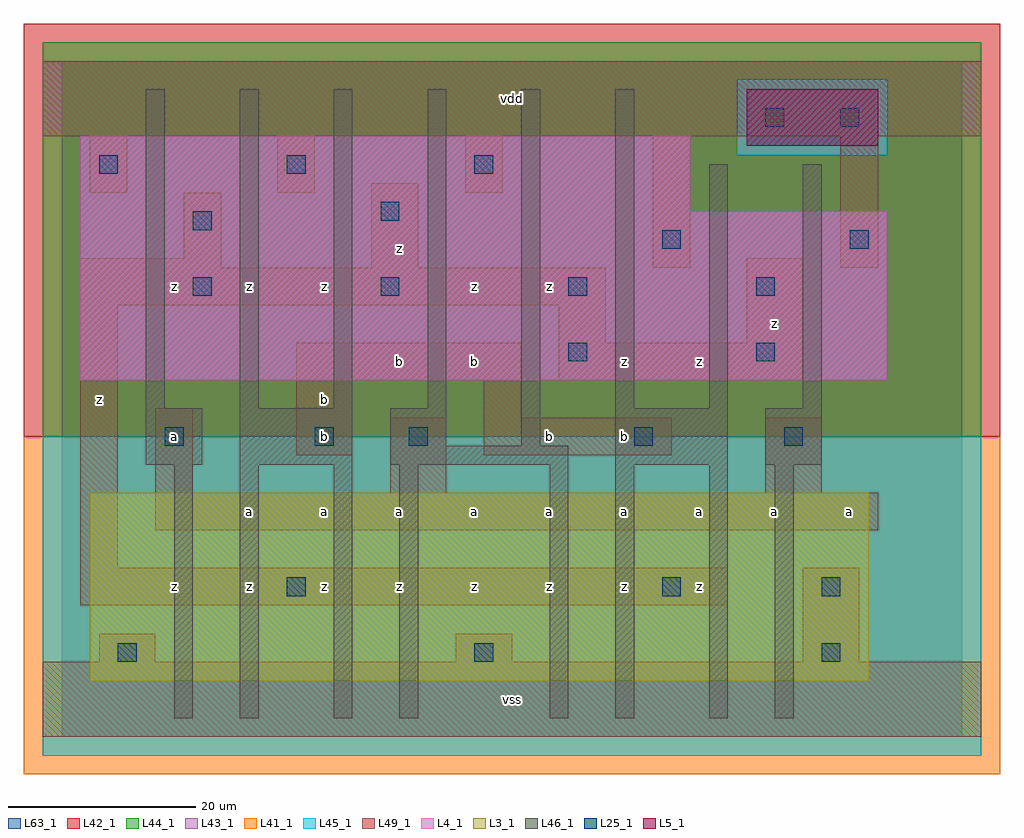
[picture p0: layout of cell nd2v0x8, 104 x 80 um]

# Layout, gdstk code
import gdstk
lib = gdstk.Library(unit=1e-6, precision=1e-09)
def R(c, l, rs):  # rectangles x0, y0, x1, y1
    for r in rs: c.add(gdstk.rectangle(r[:2], r[2:], *l))
def A(c, l, x, y, w, h, nx, ny, dx, dy):  # array of equal rectangles
    R(c, l, [(x+i*dx, y+j*dy, x+i*dx+w, y+j*dy+h) for i in range(nx) for j in range(ny)])
L3_1 = (3, 1)
L4_1 = (4, 1)
L5_1 = (5, 1)
L25_1 = (25, 1)
L41_1 = (41, 1)
L42_1 = (42, 1)
L43_1 = (43, 1)
L44_1 = (44, 1)
L45_1 = (45, 1)
L46_1 = (46, 1)
L49_1 = (49, 1)
L63_1 = (63, 1)

nd2v0x8 = lib.new_cell('nd2v0x8')
R(nd2v0x8, L3_1, [(3,6,86,26)])
R(nd2v0x8, L4_1, [(2,38,88,56), (2,56,67,64)])
R(nd2v0x8, L5_1, [(73,63,87,69)])
A(nd2v0x8, L25_1, 14, 47, 2, 2, 4, 1, 20, 0)
A(nd2v0x8, L25_1, 4, 60, 2, 2, 3, 1, 20, 0)
R(nd2v0x8, L25_1, [(6,8,8,10), (44,8,46,10), (81,8,83,10), (24,15,26,17), (64,15,66,17), (81,15,83,17), (11,31,13,33), (27,31,29,33), (37,31,39,33), (61,31,63,33), (77,31,79,33), (54,40,56,42), (74,40,76,42), (64,52,66,54), (84,52,86,54), (14,54,16,56), (34,55,36,57), (75,65,77,67), (83,65,85,67)])
R(nd2v0x8, L41_1, [(-4,-4,100,32)])
R(nd2v0x8, L42_1, [(-4,32,100,76)])
R(nd2v0x8, L43_1, [(3,6,86,26), (2,38,88,56), (2,56,67,64), (73,63,87,69)])
R(nd2v0x8, L44_1, [(-2,32,98,62), (-2,62,72,70), (88,62,98,70), (-2,70,98,74)])
R(nd2v0x8, L45_1, [(-2,-2,98,32), (72,62,88,70)])
A(nd2v0x8, L46_1, 9, 35, 2, 34, 4, 1, 10, 0)
R(nd2v0x8, L46_1, [(12,2,14,29), (19,2,21,29), (29,2,31,29), (36,2,38,29), (52,2,54,29), (59,2,61,29), (69,2,71,29), (76,2,78,29), (9,29,15,35), (19,29,31,35), (35,29,54,31), (59,29,71,35), (75,29,81,35), (35,31,41,35), (49,31,51,69), (59,35,61,69), (69,35,71,61), (79,35,81,61)])
A(nd2v0x8, L49_1, 3, 58, 4, 6, 3, 1, 20, 0)
R(nd2v0x8, L49_1, [(-2,0,98,8), (4,8,10,11), (42,8,48,11), (79,8,85,18), (2,14,71,18), (2,18,6,46), (10,22,87,26), (10,26,14,35), (35,26,41,34), (75,26,81,34), (25,30,31,38), (45,30,65,34), (45,34,49,38), (25,38,49,42), (53,38,79,42), (53,42,58,46), (73,42,79,51), (2,46,58,50), (2,50,17,51), (33,50,38,59), (63,50,67,64), (83,50,87,64), (13,51,17,58), (-2,64,98,72)])
R(nd2v0x8, L63_1, [(0,0,96,72)])
nd2v0x8.add(gdstk.Label('z', (12,16), layer=49, texttype=1))
nd2v0x8.add(gdstk.Label('a', (12,32), layer=49, texttype=1))
nd2v0x8.add(gdstk.Label('z', (4,36), layer=49, texttype=1))
nd2v0x8.add(gdstk.Label('z', (12,48), layer=49, texttype=1))
nd2v0x8.add(gdstk.Label('z', (28,16), layer=49, texttype=1))
nd2v0x8.add(gdstk.Label('z', (20,16), layer=49, texttype=1))
nd2v0x8.add(gdstk.Label('a', (20,24), layer=49, texttype=1))
nd2v0x8.add(gdstk.Label('a', (28,24), layer=49, texttype=1))
nd2v0x8.add(gdstk.Label('b', (28,32), layer=49, texttype=1))
nd2v0x8.add(gdstk.Label('b', (28,36), layer=49, texttype=1))
nd2v0x8.add(gdstk.Label('z', (20,48), layer=49, texttype=1))
nd2v0x8.add(gdstk.Label('z', (28,48), layer=49, texttype=1))
nd2v0x8.add(gdstk.Label('vss', (48,4), layer=49, texttype=1))
nd2v0x8.add(gdstk.Label('z', (44,16), layer=49, texttype=1))
nd2v0x8.add(gdstk.Label('z', (52,16), layer=49, texttype=1))
nd2v0x8.add(gdstk.Label('z', (36,16), layer=49, texttype=1))
nd2v0x8.add(gdstk.Label('a', (36,24), layer=49, texttype=1))
nd2v0x8.add(gdstk.Label('a', (44,24), layer=49, texttype=1))
nd2v0x8.add(gdstk.Label('a', (52,24), layer=49, texttype=1))
nd2v0x8.add(gdstk.Label('b', (52,32), layer=49, texttype=1))
nd2v0x8.add(gdstk.Label('b', (36,40), layer=49, texttype=1))
nd2v0x8.add(gdstk.Label('b', (44,40), layer=49, texttype=1))
nd2v0x8.add(gdstk.Label('z', (36,52), layer=49, texttype=1))
nd2v0x8.add(gdstk.Label('z', (44,48), layer=49, texttype=1))
nd2v0x8.add(gdstk.Label('z', (52,48), layer=49, texttype=1))
nd2v0x8.add(gdstk.Label('vdd', (48,68), layer=49, texttype=1))
nd2v0x8.add(gdstk.Label('z', (68,16), layer=49, texttype=1))
nd2v0x8.add(gdstk.Label('z', (60,16), layer=49, texttype=1))
nd2v0x8.add(gdstk.Label('a', (60,24), layer=49, texttype=1))
nd2v0x8.add(gdstk.Label('a', (68,24), layer=49, texttype=1))
nd2v0x8.add(gdstk.Label('a', (76,24), layer=49, texttype=1))
nd2v0x8.add(gdstk.Label('b', (60,32), layer=49, texttype=1))
nd2v0x8.add(gdstk.Label('z', (60,40), layer=49, texttype=1))
nd2v0x8.add(gdstk.Label('z', (68,40), layer=49, texttype=1))
nd2v0x8.add(gdstk.Label('z', (76,44), layer=49, texttype=1))
nd2v0x8.add(gdstk.Label('a', (84,24), layer=49, texttype=1))

lib.write_gds('nd2v0x8.gds')
